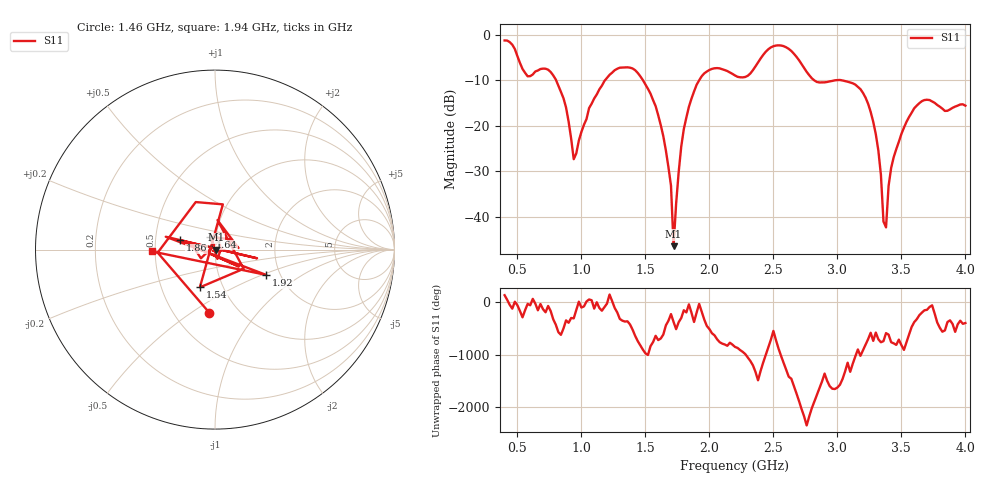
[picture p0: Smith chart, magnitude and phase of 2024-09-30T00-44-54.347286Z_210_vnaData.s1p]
!Created with skrf (http://scikit-rf.org).
# Hz S RI R 50.0
!freq ReS11 ImS11
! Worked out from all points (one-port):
!   181 points, 400 MHz to 4 GHz, reference 50 ohm
!   lowest |S11| = -46.5 dB at 1.72 GHz (marker M1), VSWR 1.01, Z = 50.5 - j0.087 ohm
!   |S11| at or under -10 dB: 803.1 MHz to 1.183 GHz (380 MHz wide, 38.3 % of centre); 1.482 GHz to 1.919 GHz (437.1 MHz wide, 25.7 % of centre); 3.041 GHz to end of sweep (the widest 3 of 4)
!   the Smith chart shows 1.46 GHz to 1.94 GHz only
!   S11 on the Smith chart (normalised r, x): 1.46 GHz: 0.74, -0.59; 1.54 GHz: 0.78, -0.34; 1.64 GHz: 0.94, +0.14; 1.86 GHz: 0.67, +0.07; 1.92 GHz: 1.69, -0.53; 1.94 GHz: 0.48, -0.01
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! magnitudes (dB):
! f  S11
! 400 MHz  -1.2
! 760 MHz  -8.1
! 860 MHz  -13.9
! 940 MHz  -27.3
! 1.06 GHz  -16.1
! 1.3 GHz  -7.2
! 1.46 GHz  -9.1
! 1.54 GHz  -12.9
! 1.64 GHz  -22.3
! 1.7 GHz  -33.2
! 1.72 GHz  -46.5
! 1.76 GHz  -30.1
! 1.86 GHz  -14.0
! 1.92 GHz  -10.0
! 1.94 GHz  -9.1
! 2.2 GHz  -8.9
! 2.5 GHz  -2.5
! 2.66 GHz  -4.1
! 2.84 GHz  -10.3
! 3.1 GHz  -10.4
! 3.28 GHz  -19.1
! 3.34 GHz  -30.8
! 3.36 GHz  -41.0
! 3.38 GHz  -42.3
! 3.42 GHz  -29.2
! 3.56 GHz  -18.0
! 3.68 GHz  -14.3
! 4 GHz  -15.5
